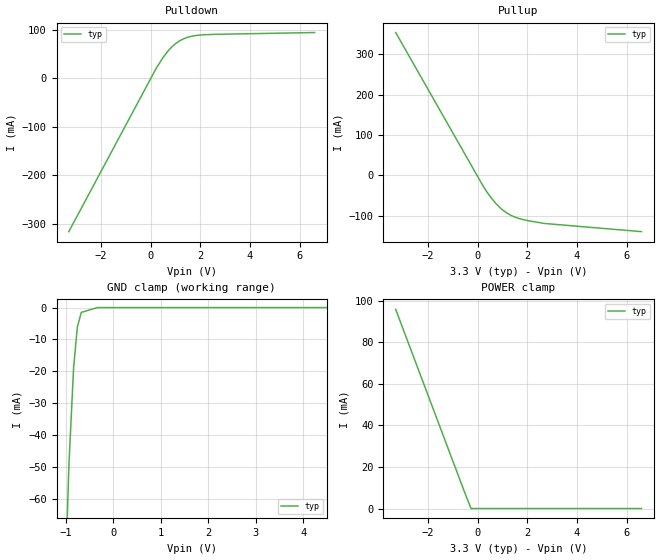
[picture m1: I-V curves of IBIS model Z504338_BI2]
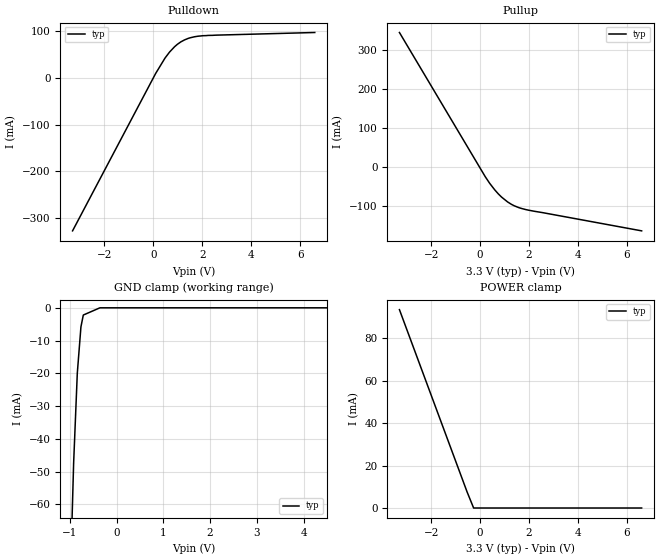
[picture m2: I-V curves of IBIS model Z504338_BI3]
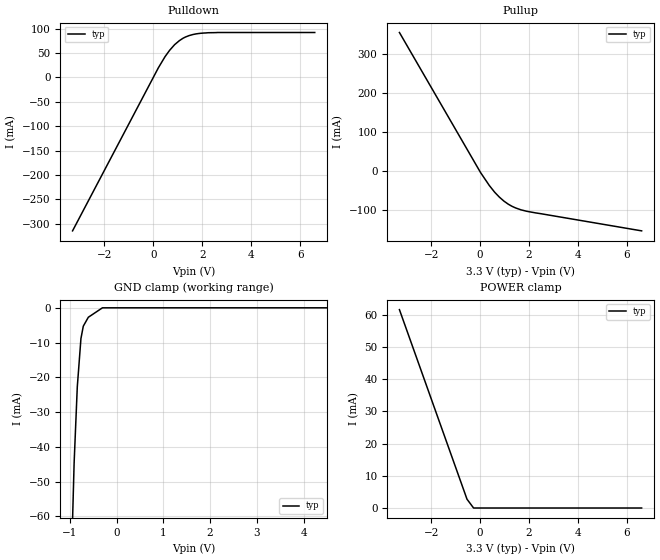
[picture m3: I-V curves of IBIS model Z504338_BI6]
| YOU ARE ONLY AUTHORIZED TO USE THIS SOFTWARE
| ACCORDING TO LICENSOR'S LICENSE RESTRICTIONS.
[IBIS Ver] 3.1
[File Name] mc74lcx16245dt.ibs
[File Rev] 2.0
[Source] Measured and created by ICX Technology
[Date] Friday 7/14/00 9:08:12 AM
[Copyright]
| (C) COPYRIGHT 1993-2000
| MENTOR GRAPHICS CORPORATION
| ICX STANDARD LIBRARY, ICX PROJECT MODELING,
| ICX CUSTOM MODELING, ICX VENDOR MODEL
| ALL RIGHTS RESERVED.
| THE FOLLOWING ARE TRADEMARKS OR SERVICE MARKS OF
| MENTOR GRAPHICS CORPORATION:ICX (R), ICX STANDARD
| LIBRARY(R), ICX PROJECT MODELING(R), ICX CUSTOM
| MODELING(R), qualityIBIS(TM), MODELVIEWER(TM),
| AND MODELEDITOR(TM)
| ALL COPIES OF SOFTWARE, INCLUDING BUT NOT LIMITED TO
| ANY MODIFICATIONS, ENHANCEMENTS OR DERIVATIVE WORKS,
| MUST CONTAIN ALL MENTOR GRAPHICS CORPORATION'S
| NOTICES AND LEGENDS, INCLUDING THOSE EMBEDDED IN
| SOFTWARE AND THOSE AFFIXED TO SOFTWARE MEDIUM
| AND CONTAINER, AS RECEIVED FROM MENTOR GRAPHICS
| CORPORATION.
|  ZAP Model Builder 2.7
[Component] MC74LCX16245DT
[Manufacturer] OnSemiconductor
[Package]
| variable   typ   min   max
R_pkg  .153ohms NA NA
L_pkg  2.946nH NA NA
C_pkg  .275pF NA NA
[Pin] signal_name  model_name  R_pin  L_pin C_pin
1 DIR1 Z504338_IN1 .171 5.2n .49p
2 B0A Z504338_BI2 .168 4.65n .44p
3 B1A Z504338_BI2 .164 4.14n .39p
4 GROUND GND .161 3.64n .33p
5 B2A Z504338_BI2 .158 3.17n .28p
6 B3A Z504338_BI2 .155 2.63n .23p
7 VCC POWER .152 2.39n .22p
8 B4A Z504338_BI2 .148 2.16n .21p
9 B5A Z504338_BI2 .145 2.0n .2p
10 GROUND GND .142 1.87n .18p
11 B6A Z504338_BI2 .139 1.75n .17p
12 B7A Z504338_BI2 .136 1.75n .16p
13 B0B Z504338_BI3 .136 1.75n .16p
14 B1B Z504338_BI3 .139 1.75n .17p
15 GROUND GND .142 1.87n .18p
16 B2B Z504338_BI3 .145 2.0n .2p
17 B3B Z504338_BI3 .148 2.16n .21p
18 VCC POWER .152 2.39n .22p
19 B4B Z504338_BI3 .155 2.63n .23p
20 B5B Z504338_BI3 .158 3.17n .28p
21 GROUND GND .161 3.64n .33p
22 B6B Z504338_BI3 .164 4.14n .39p
23 B7B Z504338_BI3 .168 4.65n .44p
24 DIR2 Z504338_IN4 .171 5.2n .49p
25 _G2 Z504338_IN5 .171 5.2n .49p
26 A7B Z504338_BI6 .168 4.65n .44p
27 A6B Z504338_BI6 .164 4.14n .39p
28 GROUND GND .161 3.64n .33p
29 A5B Z504338_BI6 .158 3.17n .28p
30 A4B Z504338_BI6 .155 2.63n .23p
31 VCC POWER .152 2.39n .22p
32 A3B Z504338_BI6 .148 2.16n .21p
33 A2B Z504338_BI6 .145 2.0n .2p
34 GROUND GND .142 1.87n .18p
35 A1B Z504338_BI6 .139 1.75n .17p
36 A0B Z504338_BI6 .136 1.75n .16p
37 A7A Z504338_BI7 .136 1.75n .16p
38 A6A Z504338_BI7 .139 1.75n .17p
39 GROUND GND .142 1.87n .18p
40 A5A Z504338_BI7 .145 2.0n .2p
41 A4A Z504338_BI7 .148 2.16n .21p
42 VCC POWER .152 2.39n .22p
43 A3A Z504338_BI7 .155 2.63n .23p
44 A2A Z504338_BI7 .158 3.17n .28p
45 GROUND GND .161 3.64n .33p
46 A1A Z504338_BI7 .164 4.14n .39p
47 A0A Z504338_BI7 .168 4.65n .44p
48 _G1 Z504338_IN8 .171 5.2n .49p
| Models and submodels in the file (8): Z504338_BI2 (I/O), Z504338_BI3 (I/O), Z504338_BI6 (I/O), Z504338_BI7 (I/O), Z504338_IN1 (Input), Z504338_IN4 (Input), Z504338_IN5 (Input), Z504338_IN8 (Input)
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| (C) COPYRIGHT 1993-2000
| MENTOR GRAPHICS CORPORATION
| ICX STANDARD LIBRARY, ICX PROJECT MODELING,
| ICX CUSTOM MODELING, ICX VENDOR MODEL
| ALL RIGHTS RESERVED.
| THE FOLLOWING ARE TRADEMARKS OR SERVICE MARKS OF
| MENTOR GRAPHICS CORPORATION:ICX (R), ICX STANDARD
| LIBRARY(R), ICX PROJECT MODELING(R), ICX CUSTOM
| MODELING(R), qualityIBIS(TM), MODELVIEWER(TM),
| AND MODELEDITOR(TM)
| ALL COPIES OF SOFTWARE, INCLUDING BUT NOT LIMITED TO
| ANY MODIFICATIONS, ENHANCEMENTS OR DERIVATIVE WORKS,
| MUST CONTAIN ALL MENTOR GRAPHICS CORPORATION'S
| NOTICES AND LEGENDS, INCLUDING THOSE EMBEDDED IN
| SOFTWARE AND THOSE AFFIXED TO SOFTWARE MEDIUM
| AND CONTAINER, AS RECEIVED FROM MENTOR GRAPHICS
| CORPORATION.
| Model Application Version 1.89 2/18/99.
[Model] Z504338_BI2
Model_type I/O
Vinl=800.0mV
Vinh=2.000V
Vref=0.000V
Rref=500.0ohms
Cref=50.00pF
Vmeas=1.500V
C_comp 8.000pF NA NA
| variable typ   min   max
[Voltage Range] 3.300V NA NA
[POWER Clamp Reference] 3.300V NA NA
[Pullup Reference] 3.300V NA NA
[Pulldown Reference] 0.000V NA NA
[GND Clamp Reference] 0.000V NA NA
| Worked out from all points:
|   slope of the pulldown table from 0 to 0.495 V, typ, clamps not added: 11.5 ohm
|   slope of the pullup table from 0 to 0.495 V, typ, clamps not added: 10.1 ohm
[GND Clamp]
-3.3V     -1.17A     NA         NA
-937.5mV  -48.88mA   NA         NA
-841mV    -19.1mA    NA         NA
-761.8mV  -6.18mA    NA         NA
-678.7mV  -1.512mA   NA         NA
-339.3mV  0A         NA         NA
6.6V      0A         NA         NA
[Pulldown]
-3.3V     -315.9mA   NA         NA
206.4mV   19.2mA     NA         NA
479.6mV   41.62mA    NA         NA
724mV     57.78mA    NA         NA
1.025V    72.28mA    NA         NA
1.472V    84.13mA    NA         NA
2.168V    89.76mA    NA         NA
6.6V      94.16mA    NA         NA
[Pullup]
-3.3V     354.2mA    NA         NA
209mV     -25.53mA   NA         NA
537mV     -55.38mA   NA         NA
722mV     -69.1mA    NA         NA
1.025V    -86.96mA   NA         NA
1.366V    -100.3mA   NA         NA
1.562V    -105.3mA   NA         NA
2.65V     -119.5mA   NA         NA
6.6V      -140mA     NA         NA
[POWER Clamp]
-3.3V     95.79mA    NA         NA
-533mV    8.106mA    NA         NA
-266.5mV  0A         NA         NA
6.6V      0A         NA         NA
[Ramp]
| variable typ min max
dV/dt_r 1.957/239.1p NA NA
dV/dt_f 1.957/425.2p NA NA
R_load = 500.0Ohms
| (C) COPYRIGHT 1993-2000
| MENTOR GRAPHICS CORPORATION
| ICX STANDARD LIBRARY, ICX PROJECT MODELING,
| ICX CUSTOM MODELING, ICX VENDOR MODEL
| ALL RIGHTS RESERVED.
| THE FOLLOWING ARE TRADEMARKS OR SERVICE MARKS OF
| MENTOR GRAPHICS CORPORATION:ICX (R), ICX STANDARD
| LIBRARY(R), ICX PROJECT MODELING(R), ICX CUSTOM
| MODELING(R), qualityIBIS(TM), MODELVIEWER(TM),
| AND MODELEDITOR(TM)
| ALL COPIES OF SOFTWARE, INCLUDING BUT NOT LIMITED TO
| ANY MODIFICATIONS, ENHANCEMENTS OR DERIVATIVE WORKS,
| MUST CONTAIN ALL MENTOR GRAPHICS CORPORATION'S
| NOTICES AND LEGENDS, INCLUDING THOSE EMBEDDED IN
| SOFTWARE AND THOSE AFFIXED TO SOFTWARE MEDIUM
| AND CONTAINER, AS RECEIVED FROM MENTOR GRAPHICS
| CORPORATION.
| Model Application Version 1.89 2/18/99.
[Model] Z504338_BI3
Model_type I/O
Vinl=800.0mV
Vinh=2.000V
Vref=0.000V
Rref=500.0ohms
Cref=50.00pF
Vmeas=1.500V
C_comp 8.000pF NA NA
| variable typ   min   max
[Voltage Range] 3.300V NA NA
[POWER Clamp Reference] 3.300V NA NA
[Pullup Reference] 3.300V NA NA
[Pulldown Reference] 0.000V NA NA
[GND Clamp Reference] 0.000V NA NA
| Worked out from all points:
|   slope of the pulldown table from 0 to 0.495 V, typ, clamps not added: 11.3 ohm
|   slope of the pullup table from 0 to 0.495 V, typ, clamps not added: 10.4 ohm
[GND Clamp]
-3.3V     -1.249A    NA         NA
-918mV    -47.44mA   NA         NA
-839.4mV  -19.96mA   NA         NA
-761.7mV  -5.81mA    NA         NA
-710.9mV  -2.205mA   NA         NA
-355.5mV  0A         NA         NA
6.6V      0A         NA         NA
[Pulldown]
-3.3V     -328.3mA   NA         NA
97.2mV    9.644mA    NA         NA
478.6mV   42.6mA     NA         NA
664.1mV   55.46mA    NA         NA
986.6mV   72.24mA    NA         NA
1.431V    84.95mA    NA         NA
2.025V    90.63mA    NA         NA
6.6V      97.52mA    NA         NA
[Pullup]
-3.3V     346mA      NA         NA
209mV     -24.9mA    NA         NA
594mV     -58.44mA   NA         NA
874mV     -77.15mA   NA         NA
1.121V    -89.63mA   NA         NA
1.386V    -99.33mA   NA         NA
1.86V     -109.2mA   NA         NA
6.6V      -164mA     NA         NA
[POWER Clamp]
-3.3V     93.51mA    NA         NA
-535mV    7.589mA    NA         NA
-267.5mV  0A         NA         NA
6.6V      0A         NA         NA
[Ramp]
| variable typ min max
dV/dt_r 1.959/243.8p NA NA
dV/dt_f 1.959/503.7p NA NA
R_load = 500.0Ohms
| (C) COPYRIGHT 1993-2000
| MENTOR GRAPHICS CORPORATION
| ICX STANDARD LIBRARY, ICX PROJECT MODELING,
| ICX CUSTOM MODELING, ICX VENDOR MODEL
| ALL RIGHTS RESERVED.
| THE FOLLOWING ARE TRADEMARKS OR SERVICE MARKS OF
| MENTOR GRAPHICS CORPORATION:ICX (R), ICX STANDARD
| LIBRARY(R), ICX PROJECT MODELING(R), ICX CUSTOM
| MODELING(R), qualityIBIS(TM), MODELVIEWER(TM),
| AND MODELEDITOR(TM)
| ALL COPIES OF SOFTWARE, INCLUDING BUT NOT LIMITED TO
| ANY MODIFICATIONS, ENHANCEMENTS OR DERIVATIVE WORKS,
| MUST CONTAIN ALL MENTOR GRAPHICS CORPORATION'S
| NOTICES AND LEGENDS, INCLUDING THOSE EMBEDDED IN
| SOFTWARE AND THOSE AFFIXED TO SOFTWARE MEDIUM
| AND CONTAINER, AS RECEIVED FROM MENTOR GRAPHICS
| CORPORATION.
| Model Application Version 1.89 2/18/99.
[Model] Z504338_BI6
Model_type I/O
Vinl=800.0mV
Vinh=2.000V
Vref=0.000V
Rref=500.0ohms
Cref=50.00pF
Vmeas=1.500V
C_comp 8.000pF NA NA
| variable typ   min   max
[Voltage Range] 3.300V NA NA
[POWER Clamp Reference] 3.300V NA NA
[Pullup Reference] 3.300V NA NA
[Pulldown Reference] 0.000V NA NA
[GND Clamp Reference] 0.000V NA NA
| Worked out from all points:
|   slope of the pulldown table from 0 to 0.495 V, typ, clamps not added: 11.3 ohm
|   slope of the pullup table from 0 to 0.495 V, typ, clamps not added: 11.1 ohm
[GND Clamp]
-3.3V     -1.218A    NA         NA
-907.6mV  -44.72mA   NA         NA
-839.8mV  -22.78mA   NA         NA
-761.7mV  -8.851mA   NA         NA
-711.3mV  -5.284mA   NA         NA
-603.7mV  -2.719mA   NA         NA
-301.8mV  0A         NA         NA
6.6V      0A         NA         NA
[Pulldown]
-3.3V     -314.4mA   NA         NA
205.5mV   19.7mA     NA         NA
478.6mV   42.61mA    NA         NA
664.1mV   55.51mA    NA         NA
869.2mV   67.19mA    NA         NA
1.063V    75.42mA    NA         NA
1.47V     86mA       NA         NA
1.748V    89.39mA    NA         NA
2.243V    91.76mA    NA         NA
6.6V      92.23mA    NA         NA
[Pullup]
-3.3V     355.2mA    NA         NA
14mV      -4.413mA   NA         NA
375mV     -37.98mA   NA         NA
595mV     -55.3mA    NA         NA
971mV     -77.98mA   NA         NA
1.454V    -95.66mA   NA         NA
1.904V    -104.1mA   NA         NA
6.6V      -154.4mA   NA         NA
[POWER Clamp]
-3.3V     61.64mA    NA         NA
-538mV    2.731mA    NA         NA
-269mV    0A         NA         NA
6.6V      0A         NA         NA
[Ramp]
| variable typ min max
dV/dt_r 1.959/268.5p NA NA
dV/dt_f 1.959/496.4p NA NA
R_load = 500.0Ohms
